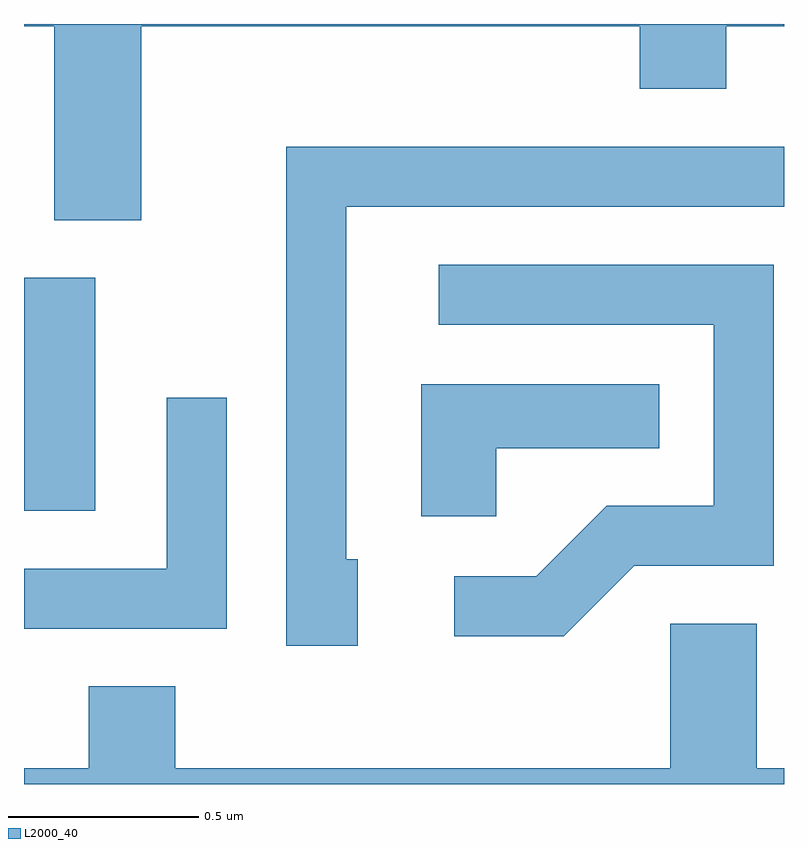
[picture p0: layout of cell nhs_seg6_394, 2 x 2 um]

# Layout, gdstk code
import gdstk
lib = gdstk.Library(unit=1e-6, precision=1e-09)
def R(c, l, rs):  # rectangles x0, y0, x1, y1
    for r in rs: c.add(gdstk.rectangle(r[:2], r[2:], *l))
def P(c, l, *ps):  # polygons
    for p in ps: c.add(gdstk.Polygon(p, *l))
L2000_40 = (2000, 40)

nhs_seg6_394 = lib.new_cell('nhs_seg6_394')
R(nhs_seg6_394, L2000_40, [(187.611,1650.881,187.799,1651.494)])
P(nhs_seg6_394, L2000_40, [(187.919,1652.156),(189.231,1652.156),(189.231,1651.991),(189.459,1651.991),(189.459,1652.156),(189.611,1652.156),(189.611,1652.162),(187.611,1652.162),(187.611,1652.156),(187.691,1652.156),(187.691,1651.646),(187.919,1651.646)],
  [(188.489,1650.754),(188.459,1650.754),(188.459,1651.681),(189.611,1651.681),(189.611,1651.839),(188.301,1651.839),(188.301,1650.526),(188.489,1650.526)],
  [(189.217,1650.736),(189.584,1650.736),(189.584,1651.529),(188.703,1651.529),(188.703,1651.371),(189.426,1651.371),(189.426,1650.894),(189.144,1650.894),(188.959,1650.709),(188.743,1650.709),(188.743,1650.551),(189.032,1650.551)],
  [(188.854,1651.046),(189.283,1651.046),(189.283,1651.214),(188.656,1651.214),(188.656,1650.866),(188.854,1650.866)],
  [(188.144,1651.178),(187.986,1651.178),(187.986,1650.729),(187.611,1650.729),(187.611,1650.571),(188.144,1650.571)],
  [(189.611,1650.204),(189.539,1650.204),(189.539,1650.584),(189.311,1650.584),(189.311,1650.204),(188.009,1650.204),(188.009,1650.419),(187.781,1650.419),(187.781,1650.204),(187.611,1650.204),(187.611,1650.162),(189.611,1650.162)])

lib.write_gds('nhs_seg6_394.gds')
